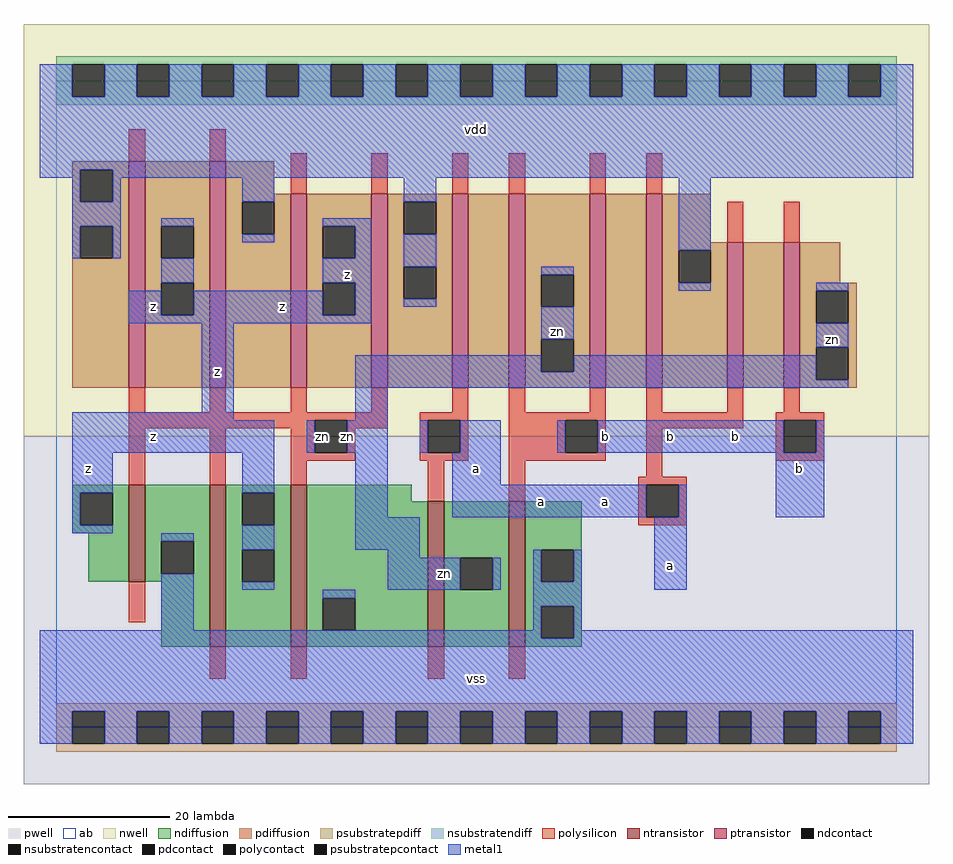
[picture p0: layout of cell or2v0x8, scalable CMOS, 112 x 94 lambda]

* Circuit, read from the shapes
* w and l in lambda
.subckt or2v0x8 a b vdd vss z zn
M1 vss zn z vss nfet w=12 l=2
M2 z zn vss vss nfet w=20 l=2 m=2
M3 zn a vss vss nfet w=18 l=2
M4 vss b zn vss nfet w=18 l=2
M5 z zn vdd vdd pfet w=28 l=2 m=2
M6 z zn vdd vdd pfet w=24 l=2 m=2
M7 n1 a vdd vdd pfet w=24 l=2
M8 zn b n1 vdd pfet w=24 l=2
M9 n2 b zn vdd pfet w=24 l=2
M10 vdd a n2 vdd pfet w=24 l=2
M11 n3 a vdd vdd pfet w=18 l=2
M12 zn b n3 vdd pfet w=18 l=2
.ends

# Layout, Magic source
magic
tech scmos
<< ab >>
rect 0 0 104 80
<< pwell >>
rect -4 -7 108 36
<< nwell >>
rect -4 36 108 87
<< polysilicon >>
rect 9 70 11 74
rect 19 70 21 74
rect 29 66 31 71
rect 39 66 41 71
rect 49 66 51 71
rect 56 66 58 71
rect 66 66 68 71
rect 73 66 75 71
rect 83 60 85 65
rect 90 60 92 65
rect 9 39 11 42
rect 19 39 21 42
rect 29 39 31 42
rect 39 39 41 42
rect 49 39 51 42
rect 9 38 41 39
rect 9 37 32 38
rect 9 30 11 37
rect 19 30 21 37
rect 29 34 32 37
rect 36 37 41 38
rect 45 38 51 39
rect 36 34 37 37
rect 29 33 37 34
rect 45 34 46 38
rect 50 34 51 38
rect 45 33 51 34
rect 56 39 58 42
rect 66 39 68 42
rect 56 38 68 39
rect 56 34 63 38
rect 67 34 68 38
rect 56 33 68 34
rect 73 39 75 42
rect 83 39 85 42
rect 90 39 92 42
rect 73 37 85 39
rect 89 38 95 39
rect 29 30 31 33
rect 9 13 11 18
rect 46 28 48 33
rect 56 28 58 33
rect 73 31 75 37
rect 89 34 90 38
rect 94 34 95 38
rect 89 33 95 34
rect 72 30 78 31
rect 72 26 73 30
rect 77 26 78 30
rect 72 25 78 26
rect 19 6 21 10
rect 29 6 31 10
rect 46 6 48 10
rect 56 6 58 10
<< ndiffusion >>
rect 2 29 9 30
rect 2 25 3 29
rect 7 25 9 29
rect 2 24 9 25
rect 4 18 9 24
rect 11 23 19 30
rect 11 19 13 23
rect 17 19 19 23
rect 11 18 19 19
rect 13 10 19 18
rect 21 29 29 30
rect 21 25 23 29
rect 27 25 29 29
rect 21 22 29 25
rect 21 18 23 22
rect 27 18 29 22
rect 21 10 29 18
rect 31 28 44 30
rect 31 16 46 28
rect 31 12 33 16
rect 37 12 46 16
rect 31 10 46 12
rect 48 21 56 28
rect 48 17 50 21
rect 54 17 56 21
rect 48 10 56 17
rect 58 22 65 28
rect 58 18 60 22
rect 64 18 65 22
rect 58 15 65 18
rect 58 11 60 15
rect 64 11 65 15
rect 58 10 65 11
<< pdiffusion >>
rect 2 69 9 70
rect 2 65 3 69
rect 7 65 9 69
rect 2 62 9 65
rect 2 58 3 62
rect 7 58 9 62
rect 2 42 9 58
rect 11 62 19 70
rect 11 58 13 62
rect 17 58 19 62
rect 11 55 19 58
rect 11 51 13 55
rect 17 51 19 55
rect 11 42 19 51
rect 21 66 27 70
rect 21 65 29 66
rect 21 61 23 65
rect 27 61 29 65
rect 21 42 29 61
rect 31 62 39 66
rect 31 58 33 62
rect 37 58 39 62
rect 31 55 39 58
rect 31 51 33 55
rect 37 51 39 55
rect 31 42 39 51
rect 41 65 49 66
rect 41 61 43 65
rect 47 61 49 65
rect 41 57 49 61
rect 41 53 43 57
rect 47 53 49 57
rect 41 42 49 53
rect 51 42 56 66
rect 58 56 66 66
rect 58 52 60 56
rect 64 52 66 56
rect 58 48 66 52
rect 58 44 60 48
rect 64 44 66 48
rect 58 42 66 44
rect 68 42 73 66
rect 75 60 81 66
rect 75 59 83 60
rect 75 55 77 59
rect 81 55 83 59
rect 75 42 83 55
rect 85 42 90 60
rect 92 55 97 60
rect 92 54 99 55
rect 92 50 94 54
rect 98 50 99 54
rect 92 47 99 50
rect 92 43 94 47
rect 98 43 99 47
rect 92 42 99 43
<< metal1 >>
rect -2 78 2 82
rect 6 78 10 82
rect 14 78 18 82
rect 22 78 26 82
rect 30 78 34 82
rect 38 78 42 82
rect 46 78 50 82
rect 54 78 58 82
rect 62 78 66 82
rect 70 78 74 82
rect 78 78 82 82
rect 86 78 90 82
rect 94 78 98 82
rect 102 78 106 82
rect -2 69 106 78
rect -2 68 3 69
rect 2 65 3 68
rect 7 68 106 69
rect 7 65 8 68
rect 2 62 8 65
rect 23 65 27 68
rect 2 58 3 62
rect 7 58 8 62
rect 13 62 17 63
rect 43 65 47 68
rect 23 60 27 61
rect 33 62 39 63
rect 13 55 17 58
rect 9 51 13 54
rect 37 58 39 62
rect 33 55 39 58
rect 17 51 33 54
rect 37 51 39 55
rect 43 57 47 61
rect 77 59 81 68
rect 43 52 47 53
rect 60 56 64 57
rect 77 54 81 55
rect 94 54 98 55
rect 9 50 39 51
rect 18 39 22 50
rect 60 48 64 52
rect 2 38 22 39
rect 37 44 60 46
rect 94 47 98 50
rect 64 44 94 46
rect 37 43 94 44
rect 37 42 98 43
rect 37 38 41 42
rect 2 34 27 38
rect 31 34 32 38
rect 36 34 41 38
rect 45 34 46 38
rect 50 34 55 38
rect 62 34 63 38
rect 67 34 90 38
rect 94 34 95 38
rect 2 29 7 34
rect 2 25 3 29
rect 2 24 7 25
rect 23 29 27 34
rect 13 23 17 24
rect 13 12 17 19
rect 23 22 27 25
rect 37 26 41 34
rect 49 30 55 34
rect 49 26 73 30
rect 77 26 78 30
rect 89 26 95 34
rect 37 22 45 26
rect 23 17 27 18
rect 41 21 45 22
rect 41 17 50 21
rect 54 17 55 21
rect 59 18 60 22
rect 64 18 65 22
rect 33 16 37 17
rect 59 15 65 18
rect 74 17 78 26
rect 59 12 60 15
rect -2 11 60 12
rect 64 12 65 15
rect 64 11 106 12
rect -2 2 106 11
rect -2 -2 2 2
rect 6 -2 10 2
rect 14 -2 18 2
rect 22 -2 26 2
rect 30 -2 34 2
rect 38 -2 42 2
rect 46 -2 50 2
rect 54 -2 58 2
rect 62 -2 66 2
rect 70 -2 74 2
rect 78 -2 82 2
rect 86 -2 90 2
rect 94 -2 98 2
rect 102 -2 106 2
<< ntransistor >>
rect 9 18 11 30
rect 19 10 21 30
rect 29 10 31 30
rect 46 10 48 28
rect 56 10 58 28
<< ptransistor >>
rect 9 42 11 70
rect 19 42 21 70
rect 29 42 31 66
rect 39 42 41 66
rect 49 42 51 66
rect 56 42 58 66
rect 66 42 68 66
rect 73 42 75 66
rect 83 42 85 60
rect 90 42 92 60
<< polycontact >>
rect 32 34 36 38
rect 46 34 50 38
rect 63 34 67 38
rect 90 34 94 38
rect 73 26 77 30
<< ndcontact >>
rect 3 25 7 29
rect 13 19 17 23
rect 23 25 27 29
rect 23 18 27 22
rect 33 12 37 16
rect 50 17 54 21
rect 60 18 64 22
rect 60 11 64 15
<< pdcontact >>
rect 3 65 7 69
rect 3 58 7 62
rect 13 58 17 62
rect 13 51 17 55
rect 23 61 27 65
rect 33 58 37 62
rect 33 51 37 55
rect 43 61 47 65
rect 43 53 47 57
rect 60 52 64 56
rect 60 44 64 48
rect 77 55 81 59
rect 94 50 98 54
rect 94 43 98 47
<< psubstratepcontact >>
rect 2 -2 6 2
rect 10 -2 14 2
rect 18 -2 22 2
rect 26 -2 30 2
rect 34 -2 38 2
rect 42 -2 46 2
rect 50 -2 54 2
rect 58 -2 62 2
rect 66 -2 70 2
rect 74 -2 78 2
rect 82 -2 86 2
rect 90 -2 94 2
rect 98 -2 102 2
<< nsubstratencontact >>
rect 2 78 6 82
rect 10 78 14 82
rect 18 78 22 82
rect 26 78 30 82
rect 34 78 38 82
rect 42 78 46 82
rect 50 78 54 82
rect 58 78 62 82
rect 66 78 70 82
rect 74 78 78 82
rect 82 78 86 82
rect 90 78 94 82
rect 98 78 102 82
<< psubstratepdiff >>
rect 0 2 104 3
rect 0 -2 2 2
rect 6 -2 10 2
rect 14 -2 18 2
rect 22 -2 26 2
rect 30 -2 34 2
rect 38 -2 42 2
rect 46 -2 50 2
rect 54 -2 58 2
rect 62 -2 66 2
rect 70 -2 74 2
rect 78 -2 82 2
rect 86 -2 90 2
rect 94 -2 98 2
rect 102 -2 104 2
rect 0 -3 104 -2
<< nsubstratendiff >>
rect 0 82 104 83
rect 0 78 2 82
rect 6 78 10 82
rect 14 78 18 82
rect 22 78 26 82
rect 30 78 34 82
rect 38 78 42 82
rect 46 78 50 82
rect 54 78 58 82
rect 62 78 66 82
rect 70 78 74 82
rect 78 78 82 82
rect 86 78 90 82
rect 94 78 98 82
rect 102 78 104 82
rect 0 77 104 78
<< labels >>
rlabel polycontact 33 36 33 36 6 zn
rlabel metal1 4 32 4 32 6 z
rlabel metal1 12 36 12 36 6 z
rlabel metal1 12 52 12 52 6 z
rlabel metal1 20 44 20 44 6 z
rlabel metal1 28 52 28 52 6 z
rlabel metal1 36 56 36 56 6 z
rlabel metal1 52 6 52 6 6 vss
rlabel metal1 48 19 48 19 6 zn
rlabel metal1 60 28 60 28 6 a
rlabel metal1 52 32 52 32 6 a
rlabel metal1 36 36 36 36 6 zn
rlabel metal1 52 74 52 74 6 vdd
rlabel metal1 68 28 68 28 6 a
rlabel metal1 76 20 76 20 6 a
rlabel metal1 68 36 68 36 6 b
rlabel metal1 76 36 76 36 6 b
rlabel metal1 62 49 62 49 6 zn
rlabel metal1 92 32 92 32 6 b
rlabel metal1 84 36 84 36 6 b
rlabel metal1 96 48 96 48 6 zn
<< end >>
